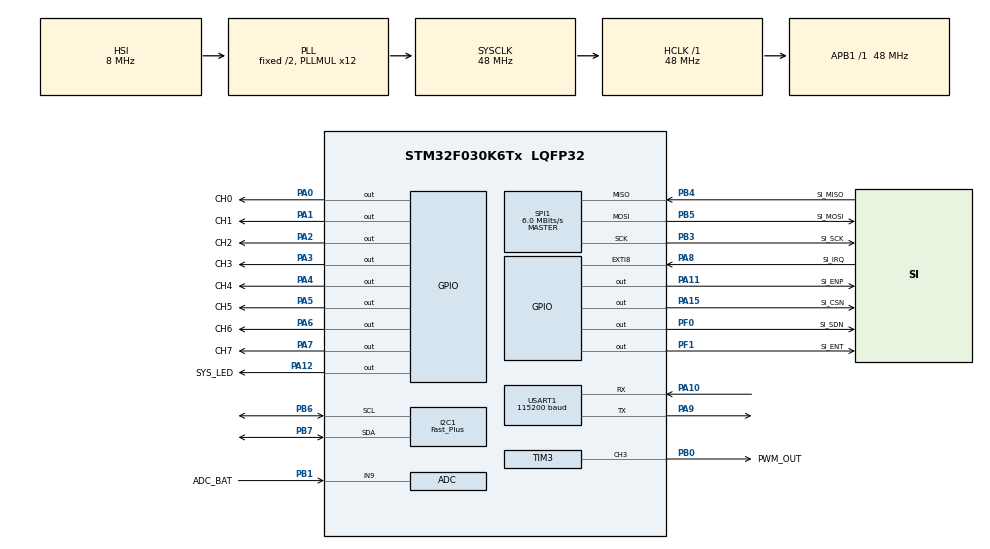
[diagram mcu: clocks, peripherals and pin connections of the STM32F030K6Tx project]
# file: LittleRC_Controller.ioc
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ADC.ClockPrescaler=ADC_CLOCK_ASYNC_DIV1
ADC.ContinuousConvMode=ENABLE
ADC.DMAContinuousRequests=ENABLE
ADC.DataAlign=ADC_DATAALIGN_RIGHT
ADC.DiscontinuousConvMode=DISABLE
ADC.EOCSelection=ADC_EOC_SINGLE_CONV
ADC.EnableAnalogWatchDog=false
ADC.ExternalTrigConv=ADC_SOFTWARE_START
ADC.ExternalTrigConvEdge=ADC_EXTERNALTRIGCONVEDGE_NONE
ADC.LowPowerAutoPowerOff=DISABLE
ADC.LowPowerAutoWait=DISABLE
ADC.Overrun=ADC_OVR_DATA_PRESERVED
ADC.Resolution=ADC_RESOLUTION_8B
ADC.SamplingTime=ADC_SAMPLETIME_239CYCLES_5
ADC.ScanConvMode=ADC_SCAN_DIRECTION_FORWARD
Dma.ADC.0.Direction=DMA_PERIPH_TO_MEMORY
Dma.ADC.0.Instance=DMA1_Channel1
Dma.ADC.0.MemDataAlignment=DMA_MDATAALIGN_HALFWORD
Dma.ADC.0.MemInc=DMA_MINC_ENABLE
Dma.ADC.0.Mode=DMA_CIRCULAR
Dma.ADC.0.PeriphDataAlignment=DMA_PDATAALIGN_HALFWORD
Dma.ADC.0.PeriphInc=DMA_PINC_DISABLE
Dma.ADC.0.Priority=DMA_PRIORITY_LOW
Dma.Request0=ADC
I2C1.I2C_Speed_Mode=I2C_Fast_Plus
I2C1.Timing=0x20000209
Mcu.Family=STM32F0
Mcu.Name=STM32F030K6Tx
Mcu.Package=LQFP32
NVIC.DMA1_Channel1_IRQn=true\:0\:0\:false\:false\:true\:false
NVIC.EXTI4_15_IRQn=true\:0\:0\:false\:false\:true\:true
NVIC.TIM17_IRQn=true\:0\:0\:false\:false\:true\:true
PA0.GPIO_Label=CH0
PA0.GPIO_ModeDefaultOutputPP=GPIO_MODE_OUTPUT_PP
PA0.GPIO_PuPd=GPIO_PULLUP
PA0.GPIO_Speed=GPIO_SPEED_FREQ_HIGH
PA0.PinState=GPIO_PIN_RESET
PA0.Signal=GPIO_Output
PA1.GPIO_Label=CH1
PA1.GPIO_ModeDefaultOutputPP=GPIO_MODE_OUTPUT_PP
PA1.GPIO_PuPd=GPIO_PULLUP
PA1.GPIO_Speed=GPIO_SPEED_FREQ_HIGH
PA1.PinState=GPIO_PIN_RESET
PA1.Signal=GPIO_Output
PA10.Mode=Multiprocessor_communication
PA10.Signal=USART1_RX
PA11.GPIO_Label=SI_ENP
PA11.GPIO_Speed=GPIO_SPEED_FREQ_MEDIUM
PA11.Signal=GPIO_Output
PA12.GPIO_Label=SYS_LED
PA12.GPIO_ModeDefaultOutputPP=GPIO_MODE_OUTPUT_OD
PA12.GPIO_Speed=GPIO_SPEED_FREQ_MEDIUM
PA12.PinState=GPIO_PIN_SET
PA12.Signal=GPIO_Output
PA13.Mode=Serial_Wire
PA13.Signal=SYS_SWDIO
PA14.Mode=Serial_Wire
PA14.Signal=SYS_SWCLK
PA15.GPIO_Label=SI_CSN
PA15.Signal=GPIO_Output
PA2.GPIO_Label=CH2
PA2.GPIO_ModeDefaultOutputPP=GPIO_MODE_OUTPUT_PP
PA2.GPIO_PuPd=GPIO_PULLUP
PA2.GPIO_Speed=GPIO_SPEED_FREQ_HIGH
PA2.PinState=GPIO_PIN_RESET
PA2.Signal=GPIO_Output
PA3.GPIO_Label=CH3
PA3.GPIO_ModeDefaultOutputPP=GPIO_MODE_OUTPUT_PP
PA3.GPIO_PuPd=GPIO_PULLUP
PA3.GPIO_Speed=GPIO_SPEED_FREQ_HIGH
PA3.PinState=GPIO_PIN_RESET
PA3.Signal=GPIO_Output
PA4.GPIO_Label=CH4
PA4.GPIO_ModeDefaultOutputPP=GPIO_MODE_OUTPUT_PP
PA4.GPIO_PuPd=GPIO_PULLUP
PA4.GPIO_Speed=GPIO_SPEED_FREQ_HIGH
PA4.PinState=GPIO_PIN_RESET
PA4.Signal=GPIO_Output
PA5.GPIO_Label=CH5
PA5.GPIO_ModeDefaultOutputPP=GPIO_MODE_OUTPUT_PP
PA5.GPIO_PuPd=GPIO_PULLUP
PA5.GPIO_Speed=GPIO_SPEED_FREQ_HIGH
PA5.PinState=GPIO_PIN_RESET
PA5.Signal=GPIO_Output
PA6.GPIO_Label=CH6
PA6.GPIO_ModeDefaultOutputPP=GPIO_MODE_OUTPUT_PP
PA6.GPIO_PuPd=GPIO_PULLUP
PA6.GPIO_Speed=GPIO_SPEED_FREQ_HIGH
PA6.PinState=GPIO_PIN_RESET
PA6.Signal=GPIO_Output
PA7.GPIO_Label=CH7
PA7.GPIO_ModeDefaultOutputPP=GPIO_MODE_OUTPUT_PP
PA7.GPIO_PuPd=GPIO_PULLUP
PA7.GPIO_Speed=GPIO_SPEED_FREQ_HIGH
PA7.PinState=GPIO_PIN_RESET
PA7.Signal=GPIO_Output
PA8.GPIO_Label=SI_IRQ
PA8.GPIO_ModeDefaultEXTI=GPIO_MODE_IT_FALLING
PA8.GPIO_PuPd=GPIO_PULLUP
PA8.Signal=GPXTI8
PA9.Mode=Multiprocessor_communication
PA9.Signal=USART1_TX
PB0.GPIO_Label=PWM_OUT
PB0.Signal=S_TIM3_CH3
PB1.GPIO_Label=ADC_BAT
PB1.Mode=IN9
PB1.Signal=ADC_IN9
PB3.GPIO_Label=SI_SCK
PB3.GPIO_PuPd=GPIO_NOPULL
PB3.Mode=Full_Duplex_Master
PB3.Signal=SPI1_SCK
PB4.GPIO_Label=SI_MISO
PB4.GPIO_PuPd=GPIO_NOPULL
PB4.Mode=Full_Duplex_Master
PB4.Signal=SPI1_MISO
PB5.GPIO_Label=SI_MOSI
PB5.GPIO_PuPd=GPIO_NOPULL
PB5.Mode=Full_Duplex_Master
PB5.Signal=SPI1_MOSI
PB6.Mode=I2C
PB6.Signal=I2C1_SCL
PB7.Mode=I2C
PB7.Signal=I2C1_SDA
PF0-OSC_IN.GPIO_Label=SI_SDN
PF0-OSC_IN.GPIO_Speed=GPIO_SPEED_FREQ_MEDIUM
PF0-OSC_IN.PinState=GPIO_PIN_SET
PF0-OSC_IN.Signal=GPIO_Output
PF1-OSC_OUT.GPIO_Label=SI_ENT
PF1-OSC_OUT.GPIO_Speed=GPIO_SPEED_FREQ_MEDIUM
PF1-OSC_OUT.PinState=GPIO_PIN_RESET
PF1-OSC_OUT.Signal=GPIO_Output
ProjectManager.HeapSize=0x200
ProjectManager.StackSize=0x400
ProjectManager.TargetToolchain=MDK-ARM V5
RCC.AHBFreq_Value=48000000
RCC.APB1Freq_Value=48000000
RCC.APB1TimFreq_Value=48000000
RCC.HCLKFreq_Value=48000000
RCC.I2c1ClockSelection=RCC_I2C1CLKSOURCE_SYSCLK
RCC.PLLMUL=RCC_PLL_MUL12
RCC.SYSCLKFreq_VALUE=48000000
RCC.SYSCLKSource=RCC_SYSCLKSOURCE_PLLCLK
RCC.Usart1ClockSelection=RCC_USART1CLKSOURCE_HSI
SH.S_TIM3_CH3.0=TIM3_CH3,PWM Generation3 CH3
SPI1.BaudRatePrescaler=SPI_BAUDRATEPRESCALER_8
SPI1.CLKPolarity=SPI_POLARITY_LOW
SPI1.CalculateBaudRate=6.0 MBits/s
SPI1.DataSize=SPI_DATASIZE_8BIT
SPI1.Direction=SPI_DIRECTION_2LINES
SPI1.Mode=SPI_MODE_MASTER
SPI1.NSSPMode=SPI_NSS_PULSE_ENABLE
SPI1.VirtualType=VM_MASTER
TIM17.Period=1000-1
TIM17.Prescaler=48000-1
TIM3.Channel-PWM\ Generation3\ CH3=TIM_CHANNEL_3
USART1.BaudRate=115200
USART1.VirtualMode-Multiprocessor_communication=VM_ASYNC
VP_ADC_TempSens_Input.Mode=IN-TempSens
VP_ADC_Vref_Input.Mode=IN-Vrefint
VP_TIM17_VS_ClockSourceINT.Mode=Enable_Timer
board=LittleRC_Controller

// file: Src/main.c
/**
  ******************************************************************************
  * @file           : main.c
  * @brief          : Main program body
  ******************************************************************************
  ** This notice applies to any and all portions of this file
  * that are not between comment pairs USER CODE BEGIN and
  * USER CODE END. Other portions of this file, whether
  * inserted by the user or by software development tools
  * are owned by their respective copyright owners.
  *
  * COPYRIGHT(c) 2018 STMicroelectronics
  *
  * Redistribution and use in source and binary forms, with or without modification,
  * are permitted provided that the following conditions are met:
  *   1. Redistributions of source code must retain the above copyright notice,
  *      this list of conditions and the following disclaimer.
  *   2. Redistributions in binary form must reproduce the above copyright notice,
  *      this list of conditions and the following disclaimer in the documentation
  *      and/or other materials provided with the distribution.
  *   3. Neither the name of STMicroelectronics nor the names of its contributors
  *      may be used to endorse or promote products derived from this software
  *      without specific prior written permission.
  *
  * THIS SOFTWARE IS PROVIDED BY THE COPYRIGHT HOLDERS AND CONTRIBUTORS "AS IS"
  * AND ANY EXPRESS OR IMPLIED WARRANTIES, INCLUDING, BUT NOT LIMITED TO, THE
  * IMPLIED WARRANTIES OF MERCHANTABILITY AND FITNESS FOR A PARTICULAR PURPOSE ARE
  * DISCLAIMED. IN NO EVENT SHALL THE COPYRIGHT HOLDER OR CONTRIBUTORS BE LIABLE
  * FOR ANY DIRECT, INDIRECT, INCIDENTAL, SPECIAL, EXEMPLARY, OR CONSEQUENTIAL
  * DAMAGES (INCLUDING, BUT NOT LIMITED TO, PROCUREMENT OF SUBSTITUTE GOODS OR
  * SERVICES; LOSS OF USE, DATA, OR PROFITS; OR BUSINESS INTERRUPTION) HOWEVER
  * CAUSED AND ON ANY THEORY OF LIABILITY, WHETHER IN CONTRACT, STRICT LIABILITY,
  * OR TORT (INCLUDING NEGLIGENCE OR OTHERWISE) ARISING IN ANY WAY OUT OF THE USE
  * OF THIS SOFTWARE, EVEN IF ADVISED OF THE POSSIBILITY OF SUCH DAMAGE.
  *
  ******************************************************************************
  */
#include "main.h"
#include "stm32f0xx_hal.h"

/* USER CODE BEGIN Includes */
#include "bsp.h"

#include "si446x/si446x.h"

#include "oled/LCD_graph.h"
#include "oled/fonts.h"
#include "oled/oled_i2c.h"

/* USER CODE END Includes */

ADC_HandleTypeDef hadc;
DMA_HandleTypeDef hdma_adc;

I2C_HandleTypeDef hi2c1;

SPI_HandleTypeDef hspi1;

TIM_HandleTypeDef htim3;
TIM_HandleTypeDef htim17;

UART_HandleTypeDef huart1;

/* USER CODE BEGIN PV */
/* Private variables ---------------------------------------------------------*/

#define MAX_TIMEOUT 100 // 100ms

/* USER CODE END PV */

void SystemClock_Config(void);
static void MX_GPIO_Init(void);
static void MX_DMA_Init(void);
static void MX_ADC_Init(void);
static void MX_SPI1_Init(void);
static void MX_USART1_UART_Init(void);
static void MX_I2C1_Init(void);
static void MX_TIM3_Init(void);
static void MX_TIM17_Init(void);

void HAL_TIM_MspPostInit(TIM_HandleTypeDef *htim);

/* USER CODE BEGIN PFP */
/* Private function prototypes -----------------------------------------------*/

uint8_t rssi;
uint16_t adc_value[10];
int received, sent;
int frq;
uint16_t timeout = MAX_TIMEOUT;

/* USER CODE END PFP */

/* USER CODE BEGIN 0 */
int fputc(int ch, FILE *f){
	uint8_t t = ch;
	HAL_UART_Transmit(&huart1, (uint8_t *)&t, 1, 0xff);
	return 1;
}

float GetMcuTemp(){
	//return (1430-adc_value[9]*3300/0xff)/4.3+25;
	return (1430-adc_value[1]*1200/adc_value[2])/4.3+25;
}

float GetBatteryVoltage(){
	return (adc_value[0]*3.3*2/0xff);
}

void OLED_Loop(){
	static char sbuf[128];

	LCD_PutStrXY(0, 0, "Rssi");
	sprintf(sbuf, "%d ", rssi/2-134);
	LCD_PutStrXY(48, 0, sbuf);
	LCD_PutStrXY(96, 0, "dB");

	LCD_PutStrXY(0, 16, "Vbat");
	sprintf(sbuf, "%.2f ", GetBatteryVoltage());
	LCD_PutStrXY(48, 16, sbuf);
	LCD_PutStrXY(96, 16, "v");

	LCD_PutStrXY(0, 40, "Recv");
	sprintf(sbuf, "%d", received);
	LCD_PutStrXY(36, 40, sbuf);

	LCD_PutStrXY(0, 48, "sent");
	sprintf(sbuf, "%d", sent);
	LCD_PutStrXY(36, 48, sbuf);

	LCD_PutStrXY(0, 56, "FRQ");
	sprintf(sbuf, "%d  ", frq);
	LCD_PutStrXY(36, 56, sbuf);
	LCD_PutStrXY(96, 56, "Hz");

}

void SendPacket(){
	static uint8_t buf[128];

	buf[0] = rssi;

	//send packet

	SI_ENP_H(); //enable PA

	SI446X_SEND_PACKET(buf, SEND_LENGTH, SEND_CHANNEL, 6);

	sent++;
}

void RecvPacket(){
	static uint8_t buf[128];

	SI446X_READ_PACKET(buf, RECV_LENGTH);

	if(buf[0] == 0x88){ //rpc ?
		SendPacket();
	}else{
		SI446X_START_RX(RECV_CHANNEL, 0, RECV_LENGTH, 8, 8, 8);//switch to tx when failed
	}

	received++;
}

void Handle_SI_IRQ(){
	static uint8_t buf[128];

	SI446X_INT_STATUS(buf);	//clean TI && read status

	if(buf[3] & (1<<5)){	//PACKET_SENT_PEND
		SI_ENP_L(); //disable PA

		SI446X_START_RX(RECV_CHANNEL, 0, RECV_LENGTH, 8, 8, 8);//switch to tx when failed
	}else if(buf[3] & (1<<4)){	//PACKET_RX_PEND
		//recv packet
		RecvPacket();

	}else if(buf[5] & (1<<0)){	//SYNC_DETECT_PEND
		//read rssi
		rssi = SI446X_GET_FRR_REG(FRR_D_READ);
	}
}

void Handle_Timer(){
	//STOP timer
	//__HAL_TIM_SET_AUTORELOAD(&htim17,  send_time +1);
	static int last_value;

	frq = received - last_value;
	last_value = received;
}

/* USER CODE END 0 */

int main(void)
{

  /* MCU Configuration----------------------------------------------------------*/

  /* Reset of all peripherals, Initializes the Flash interface and the Systick. */
  HAL_Init();

  /* Configure the system clock */
  SystemClock_Config();

  /* Initialize all configured peripherals */
  MX_GPIO_Init();
  MX_DMA_Init();
  MX_ADC_Init();
  MX_SPI1_Init();
  MX_USART1_UART_Init();
  MX_I2C1_Init();
  MX_TIM3_Init();
  MX_TIM17_Init();
  /* USER CODE BEGIN 2 */

	printf("Init System\n\r");

	//init adc
	HAL_ADC_Start_DMA(&hadc, (uint32_t*)&adc_value, 3); //Start ADC

	//init si4463
	HAL_NVIC_DisableIRQ(EXTI4_15_IRQn);//disalbe IRQ
  SI446X_RESET();
	HAL_NVIC_EnableIRQ(EXTI4_15_IRQn);//enalbe IRQ
	//trigger rx status
	SI446X_START_RX(RECV_CHANNEL, 0, RECV_LENGTH, 8, 8, 8);//switch to tx when failed

	//init timer
	HAL_TIM_Base_Start_IT(&htim17);

	//init timer
	//HAL_TIM_Base_Start_IT(&htim3);

	//init oled
	OLED_Init();
	LCD_SetFont(SmallFont6_8);

  /* USER CODE END 2 */

  /* Infinite loop */
  while (1) {

  /* USER CODE BEGIN 3 */
		OLED_Loop();//oled main loop
  }
  /* USER CODE END 3 */

}

void SystemClock_Config(void)
{

  RCC_OscInitTypeDef RCC_OscInitStruct;
  RCC_ClkInitTypeDef RCC_ClkInitStruct;
  RCC_PeriphCLKInitTypeDef PeriphClkInit;

    /**Initializes the CPU, AHB and APB busses clocks
    */
  RCC_OscInitStruct.OscillatorType = RCC_OSCILLATORTYPE_HSI|RCC_OSCILLATORTYPE_HSI14;
  RCC_OscInitStruct.HSIState = RCC_HSI_ON;
  RCC_OscInitStruct.HSI14State = RCC_HSI14_ON;
  RCC_OscInitStruct.HSICalibrationValue = 16;
  RCC_OscInitStruct.HSI14CalibrationValue = 16;
  RCC_OscInitStruct.PLL.PLLState = RCC_PLL_ON;
  RCC_OscInitStruct.PLL.PLLSource = RCC_PLLSOURCE_HSI;
  RCC_OscInitStruct.PLL.PLLMUL = RCC_PLL_MUL12;
  RCC_OscInitStruct.PLL.PREDIV = RCC_PREDIV_DIV1;
  if (HAL_RCC_OscConfig(&RCC_OscInitStruct) != HAL_OK)
  {
    _Error_Handler(__FILE__, __LINE__);
  }

    /**Initializes the CPU, AHB and APB busses clocks
    */
  RCC_ClkInitStruct.ClockType = RCC_CLOCKTYPE_HCLK|RCC_CLOCKTYPE_SYSCLK
                              |RCC_CLOCKTYPE_PCLK1;
  RCC_ClkInitStruct.SYSCLKSource = RCC_SYSCLKSOURCE_PLLCLK;
  RCC_ClkInitStruct.AHBCLKDivider = RCC_SYSCLK_DIV1;
  RCC_ClkInitStruct.APB1CLKDivider = RCC_HCLK_DIV1;

  if (HAL_RCC_ClockConfig(&RCC_ClkInitStruct, FLASH_LATENCY_1) != HAL_OK)
  {
    _Error_Handler(__FILE__, __LINE__);
  }

  PeriphClkInit.PeriphClockSelection = RCC_PERIPHCLK_USART1|RCC_PERIPHCLK_I2C1;
  PeriphClkInit.Usart1ClockSelection = RCC_USART1CLKSOURCE_HSI;
  PeriphClkInit.I2c1ClockSelection = RCC_I2C1CLKSOURCE_SYSCLK;
  if (HAL_RCCEx_PeriphCLKConfig(&PeriphClkInit) != HAL_OK)
  {
    _Error_Handler(__FILE__, __LINE__);
  }

    /**Configure the Systick interrupt time
    */
  HAL_SYSTICK_Config(HAL_RCC_GetHCLKFreq()/1000);

    /**Configure the Systick
    */
  HAL_SYSTICK_CLKSourceConfig(SYSTICK_CLKSOURCE_HCLK);

  /* SysTick_IRQn interrupt configuration */
  HAL_NVIC_SetPriority(SysTick_IRQn, 0, 0);
}

/* ADC init function */
static void MX_ADC_Init(void)
{

  ADC_ChannelConfTypeDef sConfig;

    /**Configure the global features of the ADC (Clock, Resolution, Data Alignment and number of conversion)
    */
  hadc.Instance = ADC1;
  hadc.Init.ClockPrescaler = ADC_CLOCK_ASYNC_DIV1;
  hadc.Init.Resolution = ADC_RESOLUTION_8B;
  hadc.Init.DataAlign = ADC_DATAALIGN_RIGHT;
  hadc.Init.ScanConvMode = ADC_SCAN_DIRECTION_FORWARD;
  hadc.Init.EOCSelection = ADC_EOC_SINGLE_CONV;
  hadc.Init.LowPowerAutoWait = DISABLE;
  hadc.Init.LowPowerAutoPowerOff = DISABLE;
  hadc.Init.ContinuousConvMode = ENABLE;
  hadc.Init.DiscontinuousConvMode = DISABLE;
  hadc.Init.ExternalTrigConv = ADC_SOFTWARE_START;
  hadc.Init.ExternalTrigConvEdge = ADC_EXTERNALTRIGCONVEDGE_NONE;
  hadc.Init.DMAContinuousRequests = ENABLE;
  hadc.Init.Overrun = ADC_OVR_DATA_PRESERVED;
  if (HAL_ADC_Init(&hadc) != HAL_OK)
  {
    _Error_Handler(__FILE__, __LINE__);
  }

    /**Configure for the selected ADC regular channel to be converted.
    */
  sConfig.Channel = ADC_CHANNEL_9;
  sConfig.Rank = ADC_RANK_CHANNEL_NUMBER;
  sConfig.SamplingTime = ADC_SAMPLETIME_239CYCLES_5;
  if (HAL_ADC_ConfigChannel(&hadc, &sConfig) != HAL_OK)
  {
    _Error_Handler(__FILE__, __LINE__);
  }

    /**Configure for the selected ADC regular channel to be converted.
    */
  sConfig.Channel = ADC_CHANNEL_TEMPSENSOR;
  if (HAL_ADC_ConfigChannel(&hadc, &sConfig) != HAL_OK)
  {
    _Error_Handler(__FILE__, __LINE__);
  }

    /**Configure for the selected ADC regular channel to be converted.
    */
  sConfig.Channel = ADC_CHANNEL_VREFINT;
  if (HAL_ADC_ConfigChannel(&hadc, &sConfig) != HAL_OK)
  {
    _Error_Handler(__FILE__, __LINE__);
  }

}

/* I2C1 init function */
static void MX_I2C1_Init(void)
{

  hi2c1.Instance = I2C1;
  hi2c1.Init.Timing = 0x20000209;
  hi2c1.Init.OwnAddress1 = 0;
  hi2c1.Init.AddressingMode = I2C_ADDRESSINGMODE_7BIT;
  hi2c1.Init.DualAddressMode = I2C_DUALADDRESS_DISABLE;
  hi2c1.Init.OwnAddress2 = 0;
  hi2c1.Init.OwnAddress2Masks = I2C_OA2_NOMASK;
  hi2c1.Init.GeneralCallMode = I2C_GENERALCALL_DISABLE;
  hi2c1.Init.NoStretchMode = I2C_NOSTRETCH_DISABLE;
  if (HAL_I2C_Init(&hi2c1) != HAL_OK)
  {
    _Error_Handler(__FILE__, __LINE__);
  }

    /**Configure Analogue filter
    */
  if (HAL_I2CEx_ConfigAnalogFilter(&hi2c1, I2C_ANALOGFILTER_ENABLE) != HAL_OK)
  {
    _Error_Handler(__FILE__, __LINE__);
  }

    /**Configure Digital filter
    */
  if (HAL_I2CEx_ConfigDigitalFilter(&hi2c1, 0) != HAL_OK)
  {
    _Error_Handler(__FILE__, __LINE__);
  }

    /**I2C Fast mode Plus enable
    */
  __HAL_SYSCFG_FASTMODEPLUS_ENABLE(I2C_FASTMODEPLUS_I2C1);

}

/* SPI1 init function */
static void MX_SPI1_Init(void)
{

  /* SPI1 parameter configuration*/
  hspi1.Instance = SPI1;
  hspi1.Init.Mode = SPI_MODE_MASTER;
  hspi1.Init.Direction = SPI_DIRECTION_2LINES;
  hspi1.Init.DataSize = SPI_DATASIZE_8BIT;
  hspi1.Init.CLKPolarity = SPI_POLARITY_LOW;
  hspi1.Init.CLKPhase = SPI_PHASE_1EDGE;
  hspi1.Init.NSS = SPI_NSS_SOFT;
  hspi1.Init.BaudRatePrescaler = SPI_BAUDRATEPRESCALER_8;
  hspi1.Init.FirstBit = SPI_FIRSTBIT_MSB;
  hspi1.Init.TIMode = SPI_TIMODE_DISABLE;
  hspi1.Init.CRCCalculation = SPI_CRCCALCULATION_DISABLE;
  hspi1.Init.CRCPolynomial = 7;
  hspi1.Init.CRCLength = SPI_CRC_LENGTH_DATASIZE;
  hspi1.Init.NSSPMode = SPI_NSS_PULSE_ENABLE;
  if (HAL_SPI_Init(&hspi1) != HAL_OK)
  {
    _Error_Handler(__FILE__, __LINE__);
  }

}

/* TIM3 init function */
static void MX_TIM3_Init(void)
{

  TIM_MasterConfigTypeDef sMasterConfig;
  TIM_OC_InitTypeDef sConfigOC;

  htim3.Instance = TIM3;
  htim3.Init.Prescaler = 0;
  htim3.Init.CounterMode = TIM_COUNTERMODE_UP;
  htim3.Init.Period = 0;
  htim3.Init.ClockDivision = TIM_CLOCKDIVISION_DIV1;
  htim3.Init.AutoReloadPreload = TIM_AUTORELOAD_PRELOAD_DISABLE;
  if (HAL_TIM_PWM_Init(&htim3) != HAL_OK)
  {
    _Error_Handler(__FILE__, __LINE__);
  }

  sMasterConfig.MasterOutputTrigger = TIM_TRGO_RESET;
  sMasterConfig.MasterSlaveMode = TIM_MASTERSLAVEMODE_DISABLE;
  if (HAL_TIMEx_MasterConfigSynchronization(&htim3, &sMasterConfig) != HAL_OK)
  {
    _Error_Handler(__FILE__, __LINE__);
  }

  sConfigOC.OCMode = TIM_OCMODE_PWM1;
  sConfigOC.Pulse = 0;
  sConfigOC.OCPolarity = TIM_OCPOLARITY_HIGH;
  sConfigOC.OCFastMode = TIM_OCFAST_DISABLE;
  if (HAL_TIM_PWM_ConfigChannel(&htim3, &sConfigOC, TIM_CHANNEL_3) != HAL_OK)
  {
    _Error_Handler(__FILE__, __LINE__);
  }

  HAL_TIM_MspPostInit(&htim3);

}

/* TIM17 init function */
static void MX_TIM17_Init(void)
{

  htim17.Instance = TIM17;
  htim17.Init.Prescaler = 48000-1;
  htim17.Init.CounterMode = TIM_COUNTERMODE_UP;
  htim17.Init.Period = 1000-1;
  htim17.Init.ClockDivision = TIM_CLOCKDIVISION_DIV1;
  htim17.Init.RepetitionCounter = 0;
  htim17.Init.AutoReloadPreload = TIM_AUTORELOAD_PRELOAD_DISABLE;
  if (HAL_TIM_Base_Init(&htim17) != HAL_OK)
  {
    _Error_Handler(__FILE__, __LINE__);
  }

}

/* USART1 init function */
static void MX_USART1_UART_Init(void)
{

  huart1.Instance = USART1;
  huart1.Init.BaudRate = 115200;
  huart1.Init.WordLength = UART_WORDLENGTH_8B;
  huart1.Init.StopBits = UART_STOPBITS_1;
  huart1.Init.Parity = UART_PARITY_NONE;
  huart1.Init.Mode = UART_MODE_TX_RX;
  huart1.Init.HwFlowCtl = UART_HWCONTROL_NONE;
  huart1.Init.OverSampling = UART_OVERSAMPLING_16;
  huart1.Init.OneBitSampling = UART_ONE_BIT_SAMPLE_DISABLE;
  huart1.AdvancedInit.AdvFeatureInit = UART_ADVFEATURE_NO_INIT;
  if (HAL_MultiProcessor_Init(&huart1, 0, UART_WAKEUPMETHOD_IDLELINE) != HAL_OK)
  {
    _Error_Handler(__FILE__, __LINE__);
  }

}

static void MX_DMA_Init(void)
{
  /* DMA controller clock enable */
  __HAL_RCC_DMA1_CLK_ENABLE();

  /* DMA interrupt init */
  /* DMA1_Channel1_IRQn interrupt configuration */
  HAL_NVIC_SetPriority(DMA1_Channel1_IRQn, 0, 0);
  HAL_NVIC_EnableIRQ(DMA1_Channel1_IRQn);

}

/** Configure pins as
        * Analog
        * Input
        * Output
        * EVENT_OUT
        * EXTI
*/
static void MX_GPIO_Init(void)
{

  GPIO_InitTypeDef GPIO_InitStruct;

  /* GPIO Ports Clock Enable */
  __HAL_RCC_GPIOF_CLK_ENABLE();
  __HAL_RCC_GPIOA_CLK_ENABLE();
  __HAL_RCC_GPIOB_CLK_ENABLE();

  /*Configure GPIO pin Output Level */
  HAL_GPIO_WritePin(SI_SDN_GPIO_Port, SI_SDN_Pin, GPIO_PIN_SET);

  /*Configure GPIO pin Output Level */
  HAL_GPIO_WritePin(SI_ENT_GPIO_Port, SI_ENT_Pin, GPIO_PIN_RESET);

  /*Configure GPIO pin Output Level */
  HAL_GPIO_WritePin(GPIOA, CH0_Pin|CH1_Pin|CH2_Pin|CH3_Pin
                          |CH4_Pin|CH5_Pin|CH6_Pin|CH7_Pin
                          |SI_ENP_Pin|SI_CSN_Pin, GPIO_PIN_RESET);

  /*Configure GPIO pin Output Level */
  HAL_GPIO_WritePin(SYS_LED_GPIO_Port, SYS_LED_Pin, GPIO_PIN_SET);

  /*Configure GPIO pins : SI_SDN_Pin SI_ENT_Pin */
  GPIO_InitStruct.Pin = SI_SDN_Pin|SI_ENT_Pin;
  GPIO_InitStruct.Mode = GPIO_MODE_OUTPUT_PP;
  GPIO_InitStruct.Pull = GPIO_NOPULL;
  GPIO_InitStruct.Speed = GPIO_SPEED_FREQ_MEDIUM;
  HAL_GPIO_Init(GPIOF, &GPIO_InitStruct);

  /*Configure GPIO pins : CH0_Pin CH1_Pin CH2_Pin CH3_Pin
                           CH4_Pin CH5_Pin CH6_Pin CH7_Pin */
  GPIO_InitStruct.Pin = CH0_Pin|CH1_Pin|CH2_Pin|CH3_Pin
                          |CH4_Pin|CH5_Pin|CH6_Pin|CH7_Pin;
  GPIO_InitStruct.Mode = GPIO_MODE_OUTPUT_PP;
  GPIO_InitStruct.Pull = GPIO_PULLUP;
  GPIO_InitStruct.Speed = GPIO_SPEED_FREQ_HIGH;
  HAL_GPIO_Init(GPIOA, &GPIO_InitStruct);

  /*Configure GPIO pin : SI_IRQ_Pin */
  GPIO_InitStruct.Pin = SI_IRQ_Pin;
  GPIO_InitStruct.Mode = GPIO_MODE_IT_FALLING;
  GPIO_InitStruct.Pull = GPIO_PULLUP;
  HAL_GPIO_Init(SI_IRQ_GPIO_Port, &GPIO_InitStruct);

  /*Configure GPIO pin : SI_ENP_Pin */
  GPIO_InitStruct.Pin = SI_ENP_Pin;
  GPIO_InitStruct.Mode = GPIO_MODE_OUTPUT_PP;
  GPIO_InitStruct.Pull = GPIO_NOPULL;
  GPIO_InitStruct.Speed = GPIO_SPEED_FREQ_MEDIUM;
  HAL_GPIO_Init(SI_ENP_GPIO_Port, &GPIO_InitStruct);

  /*Configure GPIO pin : SYS_LED_Pin */
  GPIO_InitStruct.Pin = SYS_LED_Pin;
  GPIO_InitStruct.Mode = GPIO_MODE_OUTPUT_OD;
  GPIO_InitStruct.Pull = GPIO_NOPULL;
  GPIO_InitStruct.Speed = GPIO_SPEED_FREQ_MEDIUM;
  HAL_GPIO_Init(SYS_LED_GPIO_Port, &GPIO_InitStruct);

  /*Configure GPIO pin : SI_CSN_Pin */
  GPIO_InitStruct.Pin = SI_CSN_Pin;
  GPIO_InitStruct.Mode = GPIO_MODE_OUTPUT_PP;
  GPIO_InitStruct.Pull = GPIO_NOPULL;
  GPIO_InitStruct.Speed = GPIO_SPEED_FREQ_LOW;
  HAL_GPIO_Init(SI_CSN_GPIO_Port, &GPIO_InitStruct);

  /* EXTI interrupt init*/
  HAL_NVIC_SetPriority(EXTI4_15_IRQn, 0, 0);
  HAL_NVIC_EnableIRQ(EXTI4_15_IRQn);

}

/* USER CODE BEGIN 4 */
void HAL_GPIO_EXTI_Callback(uint16_t GPIO_Pin)
{
  if(GPIO_Pin == SI_IRQ_Pin)
  {
		Handle_SI_IRQ();
  }
}

void HAL_TIM_PeriodElapsedCallback(TIM_HandleTypeDef *htim){
	if(htim->Instance == TIM17){
		Handle_Timer();
	}
}
/* USER CODE END 4 */

void _Error_Handler(char *file, int line)
{
    while (1) {
    }
}

/************************ (C) COPYRIGHT STMicroelectronics *****END OF FILE****/
